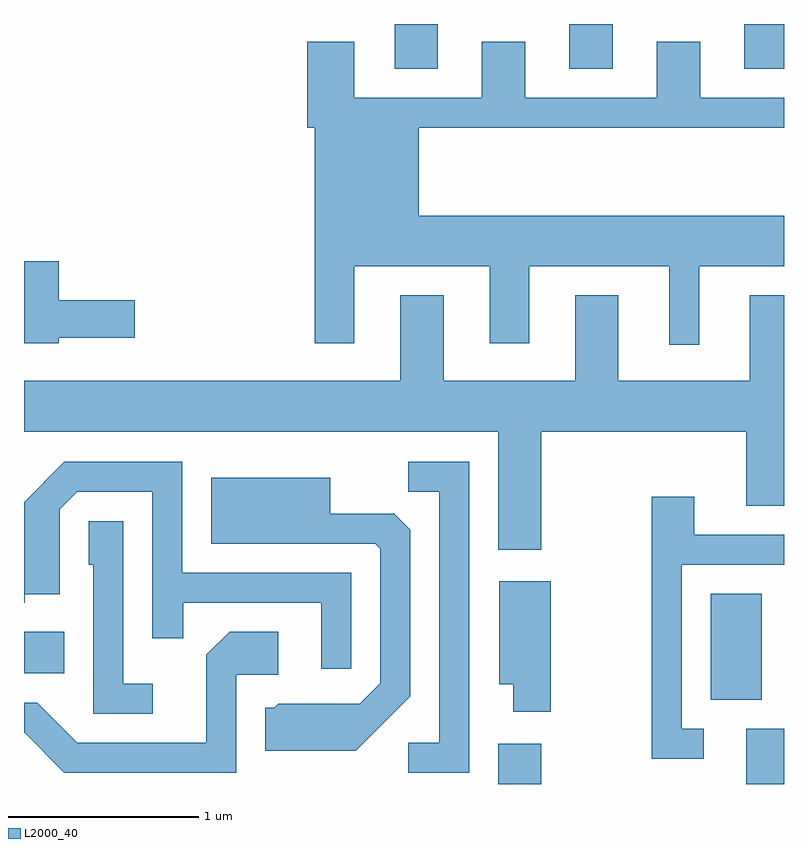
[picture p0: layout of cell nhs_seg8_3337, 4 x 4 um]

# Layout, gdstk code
import gdstk
lib = gdstk.Library(unit=1e-6, precision=1e-09)
def R(c, l, rs):  # rectangles x0, y0, x1, y1
    for r in rs: c.add(gdstk.rectangle(r[:2], r[2:], *l))
def P(c, l, *ps):  # polygons
    for p in ps: c.add(gdstk.Polygon(p, *l))
L2000_40 = (2000, 40)

nhs_seg8_3337 = lib.new_cell('nhs_seg8_3337')
R(nhs_seg8_3337, L2000_40, [(288.106,1832.342,288.334,1832.554), (289.411,1832.342,289.611,1832.634), (289.226,1832.786,289.494,1833.344), (285.611,1832.926,285.824,1833.144), (287.561,1836.106,287.789,1836.342), (288.481,1836.106,288.709,1836.342), (289.401,1836.106,289.611,1836.342)])
P(nhs_seg8_3337, L2000_40, [(289.164,1835.066),(289.611,1835.066),(289.611,1835.334),(287.689,1835.334),(287.689,1835.796),(289.611,1835.796),(289.611,1835.954),(289.169,1835.954),(289.169,1836.249),(288.941,1836.249),(288.941,1835.954),(288.249,1835.954),(288.249,1836.249),(288.021,1836.249),(288.021,1835.954),(287.349,1835.954),(287.349,1836.249),(287.101,1836.249),(287.101,1835.796),(287.141,1835.796),(287.141,1834.661),(287.349,1834.661),(287.349,1835.066),(288.061,1835.066),(288.061,1834.661),(288.269,1834.661),(288.269,1835.066),(289.006,1835.066),(289.006,1834.653),(289.164,1834.653)],
  [(285.794,1834.691),(286.194,1834.691),(286.194,1834.889),(285.794,1834.889),(285.794,1835.094),(285.611,1835.094),(285.611,1834.661),(285.794,1834.661)],
  [(287.819,1834.914),(287.591,1834.914),(287.591,1834.464),(285.611,1834.464),(285.611,1834.196),(288.106,1834.196),(288.106,1833.576),(288.334,1833.576),(288.334,1834.196),(289.411,1834.196),(289.411,1833.806),(289.611,1833.806),(289.611,1834.914),(289.431,1834.914),(289.431,1834.464),(288.739,1834.464),(288.739,1834.914),(288.511,1834.914),(288.511,1834.464),(287.819,1834.464)],
  [(287.334,1833.454),(286.444,1833.454),(286.444,1834.039),(285.824,1834.039),(285.611,1833.826),(285.611,1833.296),(285.614,1833.296),(285.614,1833.341),(285.799,1833.341),(285.799,1833.789),(285.892,1833.881),(286.286,1833.881),(286.286,1833.108),(286.449,1833.108),(286.449,1833.296),(287.176,1833.296),(287.176,1832.948),(287.334,1832.948)],
  [(287.954,1834.039),(287.633,1834.039),(287.633,1833.881),(287.796,1833.881),(287.796,1832.559),(287.633,1832.559),(287.633,1832.401),(287.954,1832.401)],
  [(287.644,1832.804),(287.644,1833.679),(287.559,1833.764),(287.224,1833.764),(287.224,1833.954),(286.596,1833.954),(286.596,1833.606),(287.459,1833.606),(287.486,1833.579),(287.486,1832.872),(287.379,1832.764),(286.949,1832.764),(286.929,1832.744),(286.881,1832.744),(286.881,1832.516),(287.357,1832.516)],
  [(289.188,1832.634),(289.074,1832.634),(289.074,1833.496),(289.611,1833.496),(289.611,1833.654),(289.139,1833.654),(289.139,1833.854),(288.916,1833.854),(288.916,1832.476),(289.188,1832.476)],
  [(286.288,1832.869),(286.134,1832.869),(286.134,1833.724),(285.951,1833.724),(285.951,1833.496),(285.976,1833.496),(285.976,1832.711),(286.288,1832.711)],
  [(288.384,1833.409),(288.111,1833.409),(288.111,1832.866),(288.186,1832.866),(288.186,1832.721),(288.384,1832.721)],
  [(286.729,1832.916),(286.949,1832.916),(286.949,1833.144),(286.694,1833.144),(286.571,1833.022),(286.571,1832.559),(285.892,1832.559),(285.682,1832.769),(285.611,1832.769),(285.611,1832.611),(285.614,1832.611),(285.824,1832.401),(286.729,1832.401)])

lib.write_gds('nhs_seg8_3337.gds')
